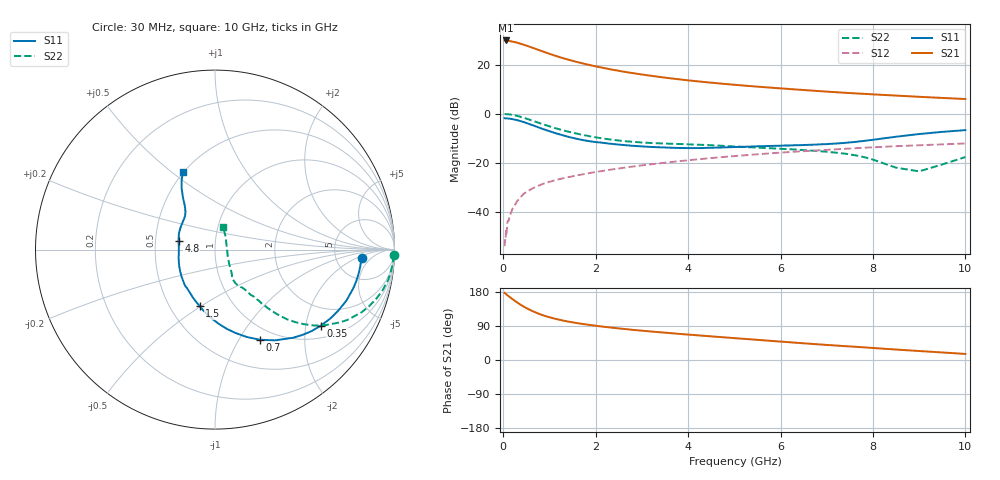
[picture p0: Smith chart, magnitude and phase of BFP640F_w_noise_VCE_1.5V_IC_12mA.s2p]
! Infineon Technologies  Discrete & RF Semiconductors
! BFP640F
! VCE =  1.5 V,  IC =  12 mA
! Common Emitter S-Parameters:  Apr 2013
# GHz  S  MA  R  50
!  f  S11  S21  S12  S22
! GHz  MAG  ANG  MAG  ANG  MAG  ANG  MAG  ANG
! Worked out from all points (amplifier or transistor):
!   99 points, 30 MHz to 10 GHz, reference 50 ohm
!   highest |S21| = 30.0 dB at 50 MHz (marker M1)
!   |S21| within 3 dB of that: start of sweep to 636.3 MHz
!   unconditionally stable (mu >= 1): 2.885 GHz to end of sweep
!   at 350 MHz: K = 0.23, MSG = 31.7 dB, |S12| = -34.5 dB
!   at 3.5 GHz: K = 1.03, MAG = 16.3 dB, |S12| = -19.9 dB
!   at 10 GHz: K = 1.06, MAG = 7.6 dB, |S12| = -12.0 dB
!   lowest NFmin = 0.68 dB at 450 MHz
!   S11 on the Smith chart (normalised r, x): 30 MHz: 9.39, -2.63; 350 MHz: 1.36, -2.44; 700 MHz: 0.84, -1.23; 1.5 GHz: 0.70, -0.49; 4.8 GHz: 0.66, +0.07; 10 GHz: 0.49, +0.55
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0.03  0.8204 -3.2  31.23 177.1  0.002 79.4  0.995 -1.8
0.05  0.8145 -5.5  31.72 175.2  0.0026 97.3  0.9946 -3.3
0.11  0.8072 -11.9  31.23 169.0  0.0066 86.6  0.9867 -7.7
0.2  0.7855 -21.2  30.04 160.7  0.0116 81.3  0.9593 -14.0
0.25  0.7668 -26.2  29.41 156.2  0.0137 79.8  0.9382 -17.1
0.35  0.7267 -35.6  27.65 147.9  0.0188 74.2  0.8898 -23.0
0.4  0.7039 -40.2  26.75 144.1  0.0212 72.9  0.859 -25.7
0.5  0.6552 -48.6  24.92 137.1  0.0254 70.5  0.804 -30.3
0.6  0.6064 -56.5  23.11 130.9  0.029 68.1  0.7482 -34.2
0.7  0.5612 -63.5  21.35 125.5  0.0325 65.6  0.6947 -37.5
0.9  0.4777 -76.3  18.3 116.4  0.0386 63.3  0.6004 -42.2
1.1  0.4146 -87.0  15.76 109.5  0.0438 61.6  0.5229 -45.3
1.3  0.3649 -96.5  13.75 104.0  0.0488 60.6  0.4624 -47.2
1.5  0.3256 -105.3  12.16 99.4  0.0534 60.1  0.4152 -48.4
1.7  0.2965 -113.9  10.9 95.4  0.0582 59.4  0.3777 -49.3
2.4  0.2426 -139.2  7.917 84.6  0.075 58.1  0.2948 -52.6
3.4  0.2084 -166.3  5.682 73.1  0.099 55.3  0.2511 -55.7
4.8  0.2083 166.9  4.105 59.6  0.1334 49.9  0.2223 -58.4
5.1  0.2126 162.5  3.88 56.8  0.1407 48.5  0.215 -58.8
6.7  0.2362 139.6  2.994 42.3  0.1784 40.3  0.178 -57.8
8.5  0.3435 121.4  2.375 27.6  0.22 30.4  0.0801 -27.5
10  0.4688 112.4  2.022 16.0  0.2503 22.0  0.1321 69.6
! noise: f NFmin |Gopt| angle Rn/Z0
0.45  0.68  0.14  8  0.05
0.9  0.68  0.15  19  0.06
1.5  0.69  0.14  28  0.07
1.9  0.7  0.12  43  0.07
2.4  0.73  0.11  55  0.08
3.5  0.82  0.09  90  0.09
5.5  1.01  0.13  -164  0.12
10  1.55  0.4  -95  0.34
